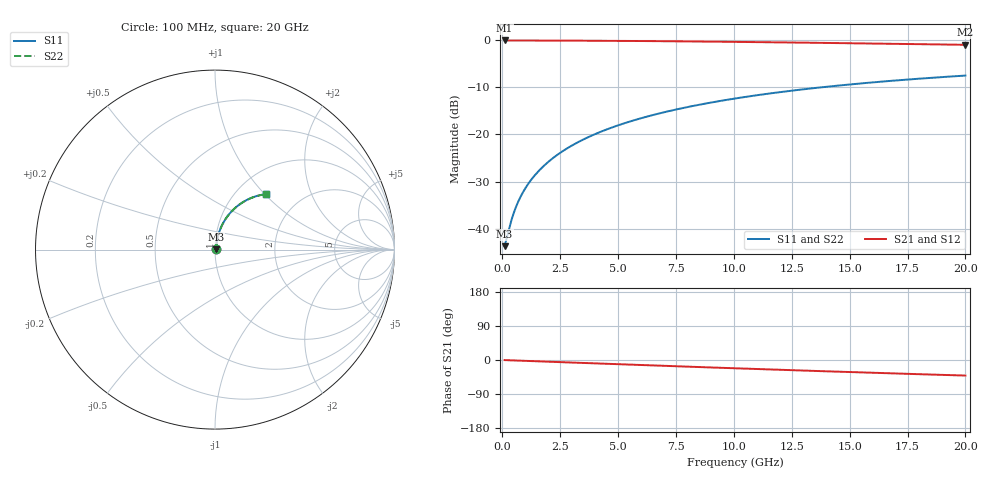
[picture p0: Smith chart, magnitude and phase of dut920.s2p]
! Touchstone file exported from HFSS 2026.1.0
!  File:  C:/ffzhzh/LocalFiles/Ansys_Project_Files/temp_train_TMRDL_920_1783158170_51560.aedt
!  Generated:  05:44:04 PM Jul  4, 2026
!  Design:  TMRDL
!  Project:  temp_train_TMRDL_920_1783158170_51560
! Variables:
!  h_bsmrdl = 2um
!  h_ox = 20um
!  h_rdl = 5um
!  h_sub = 80um
!  h_tmrdl = 2.29um
!  h_tsv = 80um
!  h_via = 3um
!  l_bsmrdl = 300um
!  l_sub = 967.6um
!  l_tmrdl = 567.6um
!  m_sub = 200um
!  pitch = 40.29um
!  r_tsv = 6um
!  s_tmrdl = 10um
!  w_bsmrdl = 18um
!  w_sub = 500um
!  w_tmrdl = 15.25um
!  x_tsv_center1 = 575.225um
!  x_tsv_center2 = 893.225um
!  x_tsv_center3 = 1476.075um
!  x_tsv_center4 = 1794.075um
!  x_tsv_center5 = 2376.925um
!  x_tsv_center6 = 2694.925um
# GHz S MA R 50.000000
! Terminal data exported
! Port[1] = TM_RDL1_1_T1
! Port[2] = TM_RDL1_1_T2
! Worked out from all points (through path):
!   200 points, 100 MHz to 20 GHz, reference 50 ohm
!   highest |S21| = -0.05 dB at 100 MHz (marker M1); lowest = -1.0 dB at 20 GHz (marker M2)
!   group delay of S21, straight-line fit = 5.72 ps
!   lowest |S11| = -43.7 dB at 100 MHz (marker M3), VSWR 1.01, Z = 50.6 + j0.274 ohm
!   |S11| at or under -10 dB: start of sweep to 13.77 GHz
!   |S22| runs from -43.7 to -7.5 dB; largest |S21 - S12| = 2.6e-15
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0.1  0.00652 24.5  0.9941 -0.2  0.9941 -0.2  0.00652 24.5
! Gamma 0 0 0 0
! Port Impedance 50 0 50 0
0.3  0.01016 52.4  0.9939 -0.7  0.9939 -0.7  0.01016 52.4
0.4  0.01244 59.0  0.9937 -0.9  0.9937 -0.9  0.01244 59.0
0.5  0.01481 63.4  0.9935 -1.2  0.9935 -1.2  0.01481 63.4
0.6  0.01722 66.5  0.9934 -1.4  0.9934 -1.4  0.01722 66.5
0.7  0.01965 68.7  0.9932 -1.6  0.9932 -1.6  0.01965 68.7
0.9  0.02452 71.7  0.9929 -2.1  0.9929 -2.1  0.02452 71.7
1.2  0.03184 74.4  0.9924 -2.7  0.9924 -2.7  0.03184 74.4
1.4  0.03673 75.5  0.9922 -3.2  0.9922 -3.2  0.03673 75.5
1.7  0.04409 76.6  0.9917 -3.8  0.9917 -3.8  0.04409 76.6
2.2  0.0564 77.4  0.9909 -4.9  0.9909 -4.9  0.0564 77.4
2.8  0.07119 77.5  0.9898 -6.3  0.9898 -6.3  0.07119 77.5
3.5  0.0884 77.1  0.9883 -7.8  0.9883 -7.8  0.0884 77.1
4.2  0.1055 76.3  0.9864 -9.4  0.9864 -9.4  0.1055 76.3
5  0.1249 75.1  0.9839 -11.1  0.9839 -11.1  0.1249 75.1
5.9  0.1464 73.6  0.9807 -13.1  0.9807 -13.1  0.1464 73.6
6.8  0.1676 72.0  0.9771 -15.0  0.9771 -15.0  0.1676 72.0
8.3  0.2021 69.1  0.9701 -18.2  0.9701 -18.2  0.2021 69.1
10.1  0.2417 65.7  0.9604 -22.0  0.9604 -22.0  0.2417 65.6
13.4  0.309 59.3  0.9399 -28.7  0.9399 -28.7  0.309 59.2
16.7  0.369 53.1  0.9172 -35.0  0.9172 -35.0  0.369 53.1
20  0.4214 47.2  0.8939 -41.1  0.8939 -41.1  0.4214 47.2
